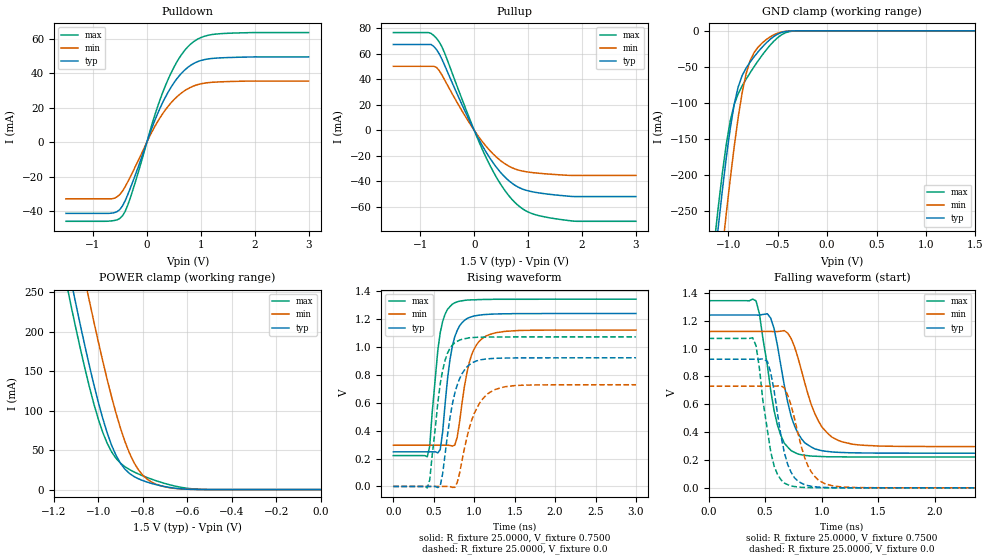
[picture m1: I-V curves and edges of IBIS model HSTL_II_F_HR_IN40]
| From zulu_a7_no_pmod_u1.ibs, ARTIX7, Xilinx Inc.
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[Model]  HSTL_II_F_HR_IN40
Model_type I/O
Polarity   Non-Inverting
Enable   Active-Low
Vinl = 0.65
Vinh = 0.85
Vmeas =  0.7500V
Cref =   0.0F
Rref =   25.0000
Vref =   0.7500V
C_comp   7.6900pF   7.5100pF   7.7200pF
[Model Spec]
Vinl   0.65   0.6125   0.6875
Vinh   0.85   0.8125   0.8875
[Temperature Range]   25.0000   85.0000   0.0
[Voltage Range]   1.5000V   1.4250V   1.5750V
[Add Submodel]
| Submodel Name   Mode
IN40_1V5   Non-Driving
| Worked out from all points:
|   slope of the pulldown table from 0 to 0.225 V, typ, clamps not added: 12.2 ohm
|   slope of the pullup table from 0 to 0.225 V, typ, clamps not added: 13 ohm
|   GND clamp passes 1 mA (typ) near -0.42 V on its own axis
|   POWER clamp passes 1 mA (typ) near -0.63 V on its own axis
|   rising waveform, R_fixture 25.0000, V_fixture 0.7500: 20-80 % time 127ps typ, 158ps min, 116ps max; typ from 0.248 V to 1.24 V
|   rising waveform, R_fixture 25.0000, V_fixture 0.0: 20-80 % time 167ps typ, 217ps min, 141ps max; typ from 0 V to 0.923 V
|   falling waveform, R_fixture 25.0000, V_fixture 0.7500: 20-80 % time 155ps typ, 203ps min, 138ps max; typ from 1.24 V to 0.249 V
|   falling waveform, R_fixture 25.0000, V_fixture 0.0: 20-80 % time 124ps typ, 154ps min, 113ps max; typ from 0.924 V to 0 V
[Pulldown]
|Voltage   I(typ)   I(min)   I(max)
-1.5V     -41.22mA   -32.79mA   -45.81mA
-650mV    -41.08mA   -32.79mA   -45.56mA
-550mV    -40.17mA   -31.58mA   -44.95mA
-450mV    -36.82mA   -28.22mA   -42.6mA
-300mV    -26.1mA    -19.6mA    -31.58mA
150mV     12.85mA    9.264mA    15.97mA
350mV     26.52mA    19.05mA    33.25mA
600mV     38.52mA    27.55mA    48.81mA
850mV     45.36mA    32.41mA    57.93mA
1.05V     47.81mA    34.2mA     61.28mA
1.3V      48.83mA    34.95mA    62.81mA
3V        49.49mA    35.5mA     63.62mA
[Pullup]
|Voltage   I(typ)   I(min)   I(max)
-1.5V     67.17mA    50.08mA    76.5mA
-800mV    67.17mA    50.08mA    75.81mA
-700mV    63.24mA    49.29mA    72.11mA
-650mV    59.93mA    46.8mA     69.25mA
-550mV    51.07mA    39.6mA     60.68mA
-150mV    13.12mA    9.882mA    16.03mA
200mV     -15.62mA   -11.48mA   -19.53mA
550mV     -35.81mA   -25.67mA   -46.02mA
850mV     -45.24mA   -31.53mA   -60.08mA
1.15V     -48.74mA   -33.48mA   -66.31mA
1.7V      -51.46mA   -35.2mA    -70.44mA
3V        -51.94mA   -35.36mA   -71.3mA
[GND_clamp]
|Voltage   I(typ)   I(min)   I(max)
-1.5V     -843mA     -931.9mA   -809.3mA
-1.14V    -322.4mA   -408.3mA   -292.6mA
-1.1V     -270.7mA   -354.9mA   -243mA
-1.06V    -221.4mA   -303.2mA   -197.2mA
-1.02V    -175.8mA   -253.2mA   -157.1mA
-940mV    -102mA     -160.6mA   -102.2mA
-900mV    -77.8mA    -120.3mA   -87.39mA
-820mV    -51.79mA   -59.71mA   -67.23mA
-740mV    -36.2mA    -30.4mA    -50.04mA
-580mV    -12.24mA   -8.697mA   -20.45mA
-340mV    -90.8uA    -98.11uA   -316.7uA
1.5V      811.3pA    94.74nA    7.031nA
[POWER_clamp]
|Voltage   I(typ)   I(min)   I(max)
-1.5V     827.8mA    915mA      794.3mA
-1.14V    289.1mA    376.9mA    257mA
-1.12V    261.4mA    348.5mA    229.8mA
-1.1V     234.2mA    320.5mA    203.4mA
-1.04V    156.9mA    239mA      130.2mA
-980mV    90.26mA    163mA      72.57mA
-940mV    56.11mA    117.3mA    47.74mA
-900mV    33.23mA    77.6mA     33.5mA
-840mV    16.69mA    34.5mA     22.47mA
-780mV    9.474mA    13.13mA    15.27mA
-680mV    2.78mA     2.426mA    6.171mA
0V        0A         0A         0A
[Ramp]
| variable   typ   min   max
dV/dt_r  0.5539/0.1665n   0.4378/0.2173n   0.6438/0.1311n
dV/dt_f  0.5590/0.1932n   0.4434/0.2388n   0.6471/0.1596n
R_load = 25.0000
[Rising Waveform]
R_fixture= 25.0000
V_fixture= 0.7500
V_fixture_min= 0.7125
V_fixture_max= 0.7875
|time   V(typ)   V(min)   V(max)
0s        248.5mV    295.7mV    221.4mV
420ps     248.5mV    295.7mV    212.8mV
450ps     248.5mV    295.7mV    287.7mV
580ps     263.4mV    295.7mV    1.103V
670ps     770.7mV    296mV      1.271V
730ps     1.006V     289.7mV    1.308V
790ps     1.119V     352.6mV    1.325V
940ps     1.212V     890.6mV    1.338V
1.12ns    1.233V     1.07V      1.342V
3ns       1.241V     1.122V     1.344V
[Rising Waveform]
R_fixture= 25.0000
V_fixture= 0.0
|time   V(typ)   V(min)   V(max)
0s        0V         0V         0V
420ps     5.703uV    803.5nV    -10.09mV
450ps     -17.06uV   548.8nV    46.66mV
580ps     4.093mV    5.338uV    735.4mV
670ps     369.4mV    429.7uV    955.8mV
760ps     668.3mV    -6.187mV   1.031V
850ps     809.4mV    186.7mV    1.056V
1ns       893.8mV    523.3mV    1.069V
1.24ns    918.7mV    691mV      1.072V
3ns       923.2mV    729.7mV    1.073V
[Falling Waveform]
R_fixture= 25.0000
V_fixture= 0.7500
V_fixture_min= 0.7125
V_fixture_max= 0.7875
|time   V(typ)   V(min)   V(max)
0s        1.241V     1.123V     1.344V
420ps     1.241V     1.123V     1.343V
450ps     1.24V      1.123V     1.25V
550ps     1.218V     1.123V     698.9mV
610ps     1.019V     1.122V     448.4mV
700ps     615.5mV    1.111V     293mV
790ps     393.5mV    936.7mV    243.3mV
970ps     273.5mV    482.5mV    226.1mV
1.18ns    254mV      330.8mV    222.5mV
3ns       248.7mV    296mV      221.5mV
[Falling Waveform]
R_fixture= 25.0000
V_fixture= 0.0
|time   V(typ)   V(min)   V(max)
0s        923.5mV    730.2mV    1.073V
390ps     923.6mV    730.2mV    1.078V
420ps     923.6mV    730.2mV    1.021V
520ps     908.4mV    730.2mV    417.5mV
580ps     696.7mV    730mV      157mV
640ps     375.5mV    733mV      59.06mV
700ps     168.1mV    665.5mV    23.1mV
880ps     16.04mV    156.2mV    2.199mV
1.03ns    3.237mV    29.53mV    688.8uV
3ns       73.65uV    145.1uV    65.7uV
